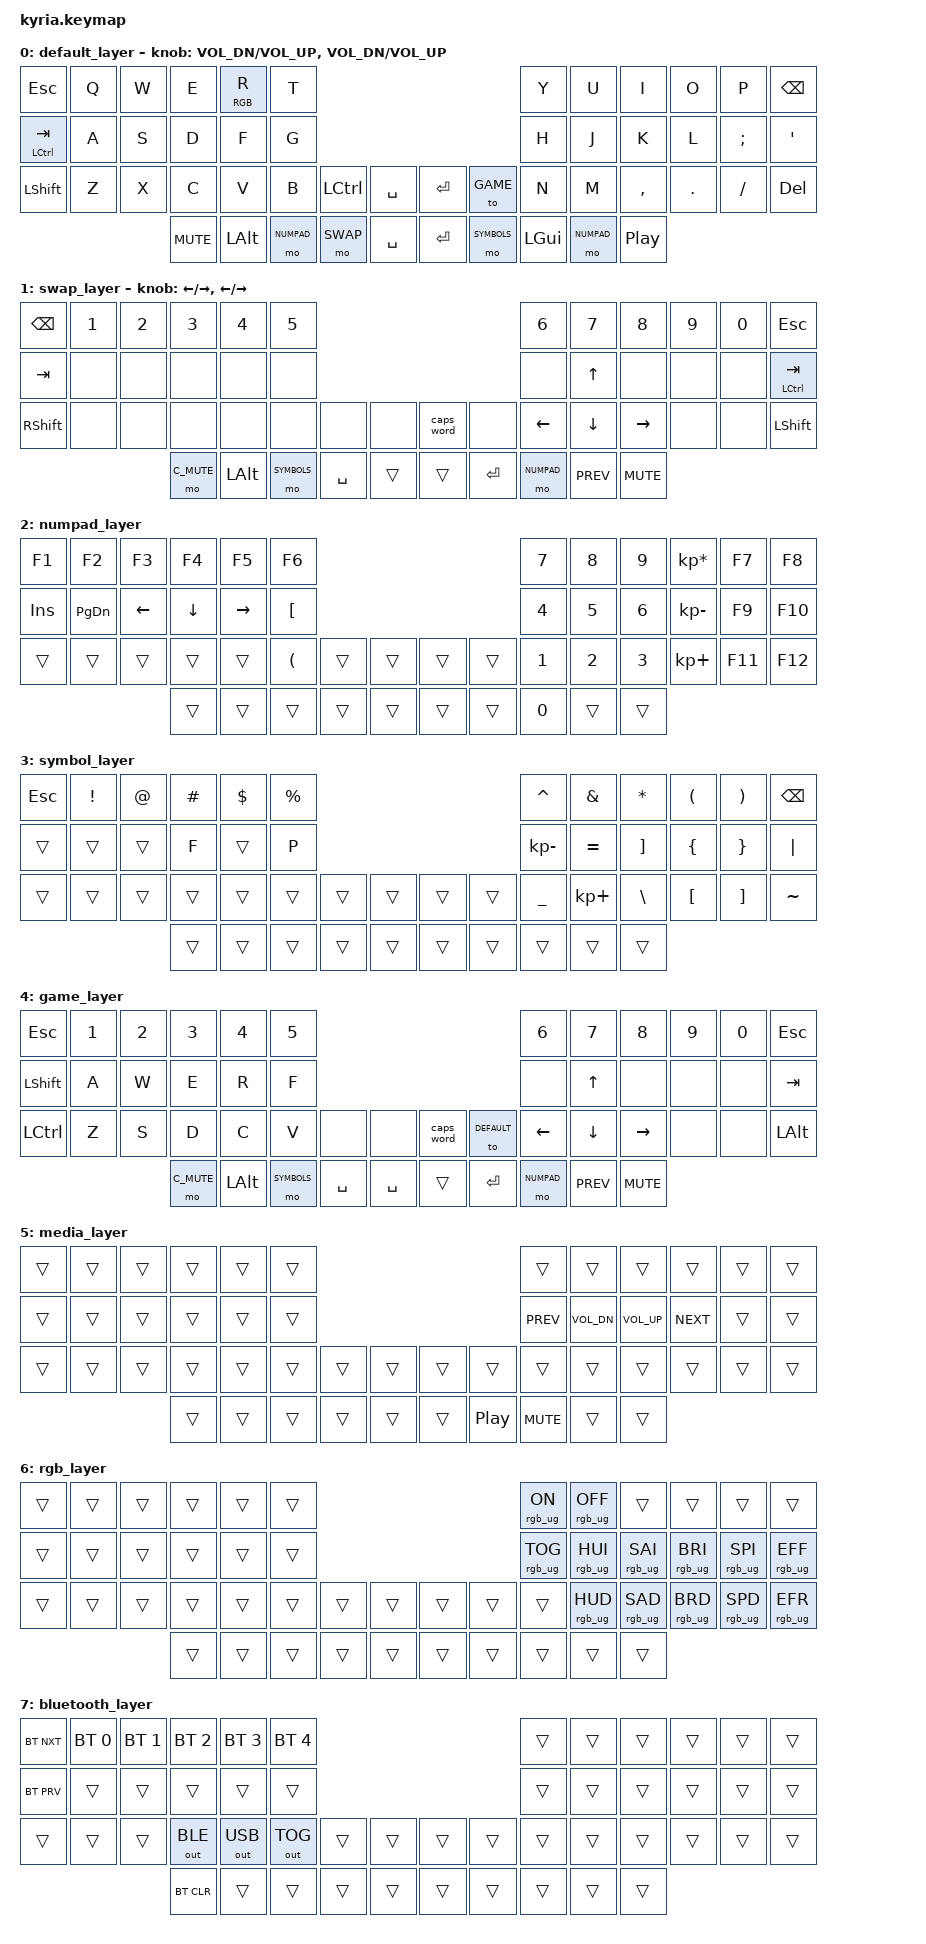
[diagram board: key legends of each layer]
/*
 * Copyright (c) 2020 The ZMK Contributors
 *
 * SPDX-License-Identifier: MIT
 */

#include <../boards/shields/kyria/boards/nice_nano.overlay>
#include <behaviors.dtsi>
#include <dt-bindings/zmk/keys.h>
#include <dt-bindings/zmk/bt.h>
#include <dt-bindings/zmk/outputs.h>
#include <dt-bindings/zmk/rgb.h>


#define DEFAULT 0
#define SWAP 1
#define NUMPAD 2
#define SYMBOLS 3
#define GAME 4
//#define MOUSE 4
#define MEDIA 5
#define RGB 6
#define BLUETOOTH 7

&left_encoder {
	resolution = <2>;
};

&right_encoder {
	resolution = <4>;
};

&mt {
	flavor = "tap-preferred";
};

&lt {
	flavor = "tap-preferred";
};

/ {
	behaviors {
		mtp: mod_tap_permissive {
			compatible = "zmk,behavior-hold-tap";
			label = "MOD_TAP_PERMISSIVE";
			#binding-cells = <2>;
			flavor = "balanced";
			tapping-term-ms = <200>;
			quick-tap-ms = <0>;
			bindings = <&kp>, <&kp>;
		};
		mto: mod_tap_other_hold {
			compatible = "zmk,behavior-hold-tap";
			label = "MOD_TAP_OTHER_HOLD";
			#binding-cells = <2>;
			flavor = "hold-preferred";
			tapping-term-ms = <200>;
			quick-tap-ms = <0>;
			bindings = <&kp>, <&kp>;
		};
	};

	keymap {
		compatible = "zmk,keymap";

		default_layer {
			bindings = <
	&kp ESC			&kp Q		&kp W		&kp E		&lt RGB R		&kp T                                         									&kp Y 				&kp U		&kp I		&kp O		&kp P		&kp BSPC
	&mto LCTRL TAB	&kp A       &kp S       &kp D       &kp F 			&kp G                                               							&kp H 				&kp J		&kp K		&kp L		&kp SEMI 	&kp SQT
	&kp LSHFT 		&kp Z 		&kp X       &kp C       &kp V       	&kp B 			&kp LCTRL	&kp SPACE   		&kp RET 		&to GAME		&kp N 				&kp M		&kp COMMA 	&kp DOT 	&kp FSLH 	&kp DEL
	                						&kp C_MUTE  &kp LALT    	&mo NUMPAD  	&mo SWAP 	&kp SPACE     		&kp RET			&mo SYMBOLS 	&kp LGUI 			&mo NUMPAD 	&kp C_PP 
			>;

			sensor-bindings = <&inc_dec_kp C_VOL_DN C_VOL_UP &inc_dec_kp C_VOL_DN C_VOL_UP>;
		};
		
		swap_layer {
			bindings = <
	&kp BSPC		&kp N1		&kp N2		&kp N3		&kp N4		&kp N5                                        										&kp N6			&kp N7			&kp N8		&kp N9		&kp N0		&kp ESC
	&kp TAB 	    &none  	    &none 		&none 		&none 		&none                                            									&none 			&kp UP  		&none     	&none   	&none 		&mto LCTRL TAB
	&kp RSHFT 		&none 	    &none		&none       &none 		&none		    &none		    &none				&caps_word		&none			&kp LEFT 	    &kp DOWN  		&kp RIGHT 	&none 	    &none 	    &kp LSHFT
	                     					&mo C_MUTE 	&kp LALT 	&mo SYMBOLS 	&kp SPACE 		&trans         		&trans 			&kp RET			&mo NUMPAD		&kp C_PREV 		&kp C_MUTE
			>;

			sensor-bindings = <&inc_dec_kp LEFT RIGHT &inc_dec_kp LEFT RIGHT>;
		};

		numpad_layer {

			bindings = <
	&kp F1		&kp F2			&kp F3			&kp F4		&kp F5		&kp F6                                  							&kp N7			&kp N8		&kp N9 		&kp KP_MULTIPLY		&kp F7 		&kp F8
	&kp INSERT	&kp PG_DN		&kp LEFT 		&kp DOWN 	&kp RIGHT 	&kp LBKT                                  							&kp N4 			&kp N5  	&kp N6 		&kp KP_MINUS		&kp F9 		&kp F10
	&trans     	&trans 			&trans 			&trans 		&trans 		&kp LPAR		&trans		&trans   		&trans		&trans 		&kp N1 			&kp N2  	&kp N3 		&kp KP_PLUS 		&kp F11  	&kp F12
	                         					&trans 			&trans 	&trans 			&trans 		&trans         	&trans 		&trans 		&kp N0 			&trans 		&trans
			>;
		};

		symbol_layer {

			bindings = <
	&kp ESC		&kp EXCL		&kp AT		&kp HASH		&kp DOLLAR		&kp PRCNT                                 							 &kp CARET		&kp AMPS    &kp STAR		&kp LPAR		&kp RPAR		&kp BSPC
	&trans		&trans			&trans		&kp F 			&trans 			&kp P                      										 &kp KP_MINUS 		&kp EQUAL  	&kp RBKT     	&kp LBRC   		&kp RBRC 		&kp PIPE
	&trans    	&trans 			&trans 		&trans 			&trans 			&trans 		&trans 		&trans   			&trans		&trans		 &kp UNDER 	&kp KP_PLUS &kp BSLH 		&kp LBKT 		&kp RBKT 		&kp TILDE
	                          				&trans 			&trans 			&trans 		&trans 		&trans   			&trans 		&trans		 &trans		 	&trans		&trans
			>;

		};

		game_layer {

			bindings = <
	&kp ESC			&kp N1		&kp N2		&kp N3		&kp N4		&kp N5                                        										&kp N6			&kp N7			&kp N8		&kp N9		&kp N0		&kp ESC
	&kp LSHFT 	    &kp A  		&kp W		&kp E		&kp R 		&kp F                                            									&none 			&kp UP  		&none     	&none   	&none 		&kp TAB
	&kp LCTRL 		&kp Z  	    &kp S		&kp D       &kp C 		&kp V		    &none		    &none				&caps_word		&to DEFAULT		&kp LEFT 	    &kp DOWN  		&kp RIGHT 	&none 	    &none 	    &kp LALT
	                     					&mo C_MUTE 	&kp LALT 	&mo SYMBOLS 	&kp SPACE 		&kp SPACE         	&trans 			&kp RET			&mo NUMPAD		&kp C_PREV 		&kp C_MUTE
			>;

		};

		media_layer {

			bindings = <
	&trans &trans &trans &trans &trans &trans                                &trans &trans &trans &trans &trans &trans
	&trans &trans &trans &trans &trans &trans                                &kp C_PREV &kp C_VOL_DN &kp C_VOL_UP &kp C_NEXT &trans &trans
	&trans &trans &trans &trans &trans &trans &trans &trans    &trans &trans &trans     &trans &trans &trans &trans &trans
	                     &trans &trans &trans &trans &trans    &trans &kp C_PP &kp C_MUTE &trans &trans
			>;

		};

		rgb_layer {
			bindings = <
	&trans &trans &trans &trans &trans &trans                                &rgb_ug RGB_ON &rgb_ug RGB_OFF &trans &trans &trans &trans
	&trans &trans &trans &trans &trans &trans                                &rgb_ug RGB_TOG &rgb_ug RGB_HUI &rgb_ug RGB_SAI &rgb_ug RGB_BRI &rgb_ug RGB_SPI &rgb_ug RGB_EFF
	&trans &trans &trans &trans &trans &trans &trans &trans    &trans &trans &trans          &rgb_ug RGB_HUD &rgb_ug RGB_SAD &rgb_ug RGB_BRD &rgb_ug RGB_SPD &rgb_ug RGB_EFR
	                     &trans &trans &trans &trans &trans    &trans &trans &trans &trans &trans
			>;

		};

		bluetooth_layer {

			bindings = <
	&bt BT_NXT &bt BT_SEL 0 &bt BT_SEL 1 &bt BT_SEL 2 &bt BT_SEL 3 &bt BT_SEL 4                    &trans &trans &trans &trans &trans &trans
	&bt BT_PRV &trans &trans &trans &trans &trans                                                  &trans &trans &trans &trans &trans &trans
	&trans     &trans &trans &out OUT_BLE &out OUT_USB &out OUT_TOG &trans &trans    &trans &trans &trans &trans &trans &trans &trans &trans
	                         &bt BT_CLR &trans &trans &trans &trans                  &trans &trans &trans &trans &trans
			>;

		};

	};
};
